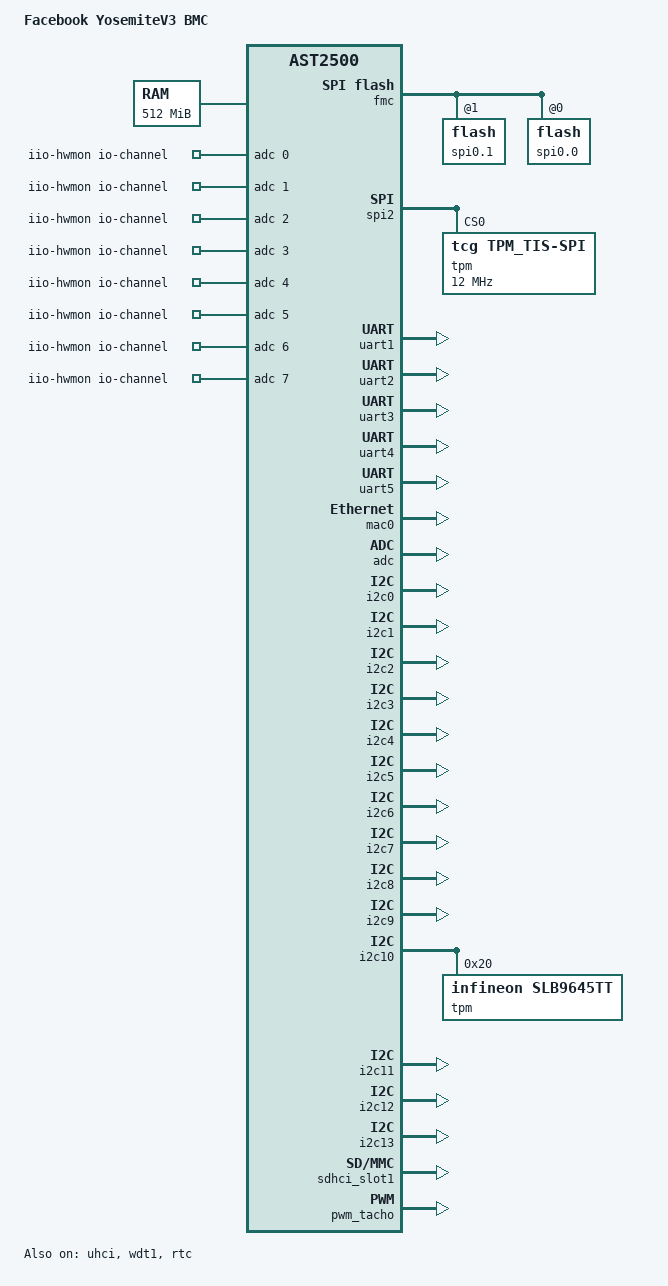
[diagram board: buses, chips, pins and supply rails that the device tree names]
// SPDX-License-Identifier: GPL-2.0+
// Copyright (c) 2018 Facebook Inc.
/dts-v1/;

#include "aspeed-g5.dtsi"
#include <dt-bindings/gpio/aspeed-gpio.h>

/ {
	model = "Facebook YosemiteV3 BMC";
	compatible = "facebook,yosemitev3-bmc", "aspeed,ast2500";
	aliases {
		serial0 = &uart5;
		serial1 = &uart1;
		serial2 = &uart2;
		serial3 = &uart3;
		serial4 = &uart4;
	};
	chosen {
		stdout-path = &uart5;
		bootargs = "debug console=ttyS4,57600n8 root=/dev/ram rw";
	};

	memory@80000000 {
		reg = <0x80000000 0x20000000>;
	};

	iio-hwmon {
		compatible = "iio-hwmon";
		io-channels = <&adc 0>, <&adc 1>, <&adc 2>, <&adc 3>,
			      <&adc 4>, <&adc 5>, <&adc 6>, <&adc 7>,
                              <&adc 8>, <&adc 9>, <&adc 10>;
	};
};

&fmc {
	status = "okay";
	flash@0 {
		reg = < 1 >;
		status = "okay";
		m25p,fast-read;
		label = "spi0.1";
#include "facebook-bmc-vboot2-flash1-layout.dtsi"
	};
	flash@1 {
		reg = < 0 >;
		status = "okay";
		m25p,fast-read;
		label = "spi0.0";
#include "facebook-bmc-vboot2-flash0-layout.dtsi"
	};
};

&spi2 {
        status = "okay";
        compatible = "aspeed,ast2500-spi-master";
        pinctrl-names = "default";
        pinctrl-0 = <&pinctrl_spi2ck_default
                     &pinctrl_spi2cs0_default
                     &pinctrl_spi2miso_default
                     &pinctrl_spi2mosi_default>;
        tpm@0 {
                reg = < 0 >;
                compatible = "tcg,tpm_tis-spi";
                spi-max-frequency = <12000000>;
                status = "okay";
        };
};

&uhci {
	status = "okay";
	pinctrl-names = "default";
	pinctrl-0 = <&pinctrl_usb2ah_default>;
};

&wdt1 {
	status = "okay";
	aspeed,reset-type = "soc";
	aspeed,ext-active-high;
	aspeed,ext-pulse-duration = <256>;
};

&ibt {
	status = "disabled";
};

&rtc {
	status = "okay";
};

&uart1 {
	status = "okay";
	pinctrl-names = "default";
	pinctrl-0 = <&pinctrl_txd1_default
		     &pinctrl_rxd1_default>;
};

&uart2 {
	status = "okay";
	pinctrl-names = "default";
	pinctrl-0 = <&pinctrl_txd2_default
		     &pinctrl_rxd2_default>;
};

&uart3 {
	status = "okay";
	pinctrl-names = "default";
	pinctrl-0 = <&pinctrl_txd3_default
		     &pinctrl_rxd3_default>;
};

&uart4 {
	status = "okay";
	pinctrl-names = "default";
	pinctrl-0 = <&pinctrl_txd4_default
		     &pinctrl_rxd4_default>;
};

&uart5 {
	status = "okay";
};

&mac0 {
	status = "okay";
	pinctrl-names = "default";
	pinctrl-0 = <&pinctrl_rmii1_default>;
	no-hw-checksum;
	use-ncsi;
	mlx,multi-host;
	ncsi-package = <1>;
	ncsi-channel = <1>;
	ncsi-rexmit = <1>;
};

&adc {
	status = "okay";
};

&i2c0 {
	multi-master;
	bus-frequency = <1000000>;
	aspeed,hw-timeout-ms = <1000>;
	status = "okay";
};

&i2c1 {
	multi-master;
	bus-frequency = <1000000>;
	aspeed,hw-timeout-ms = <1000>;
	status = "okay";
};

&i2c2 {
	multi-master;
	bus-frequency = <1000000>;
	aspeed,hw-timeout-ms = <1000>;
	status = "okay";
};

&i2c3 {
	multi-master;
	bus-frequency = <1000000>;
	aspeed,hw-timeout-ms = <1000>;
	status = "okay";
};

&i2c4 {
	status = "okay";
};

&i2c5 {
	status = "okay";
};

&i2c6 {
	status = "okay";
};

&i2c7 {
	status = "okay";
};

&i2c8 {
	status = "okay";
};

&i2c9 {
	status = "okay";
};

&i2c10 {
	status = "okay";
	// TPM (0x40)
	tpm@20 {
		compatible = "infineon,slb9645tt";
		reg = <0x20>;
	};
};

&i2c11 {
	status = "okay";
};

&i2c12 {
	status = "okay";
};

&i2c13 {
	status = "okay";
};

&sdhci_slot1 {
	//Slot Register Set for slot1
	status = "okay";
	pinctrl-names = "default";
	pinctrl-0 = <&pinctrl_sd2_default>;
	sdhci-caps-mask = <0x0 0x580000>;
	broken-cd;
};

&pwm_tacho {
	status = "okay";
	pinctrl-names = "default";
	pinctrl-0 = <&pinctrl_pwm0_default &pinctrl_pwm1_default &pinctrl_pwm2_default &pinctrl_pwm3_default>;
	fan@0 {
		reg = <0x00>;
		aspeed,fan-tach-ch = /bits/ 8 <0x00 0x01>;
		aspeed,pwm-typem-tach-mode = /bits/ 8 <0x00>;       // 00b: falling
		aspeed,pwm-typem-tach-unit = /bits/ 16 <0x1000>;    // 4096
		aspeed,pwm-typem-tach-clk-div = /bits/ 8 <0x00>;    // div 4
	};

	fan@1 {
		reg = <0x01>;
		aspeed,fan-tach-ch = /bits/ 8 <0x02 0x03>;
		aspeed,pwm-typem-tach-mode = /bits/ 8 <0x00>;       // 00b: falling
		aspeed,pwm-typem-tach-unit = /bits/ 16 <0x1000>;    // 4096
		aspeed,pwm-typem-tach-clk-div = /bits/ 8 <0x00>;    // div 4
	};

	fan@2 {
		reg = <0x02>;
		aspeed,fan-tach-ch = /bits/ 8 <0x04 0x05>;
		aspeed,pwm-typem-tach-mode = /bits/ 8 <0x00>;       // 00b: falling
		aspeed,pwm-typem-tach-unit = /bits/ 16 <0x1000>;    // 4096
		aspeed,pwm-typem-tach-clk-div = /bits/ 8 <0x00>;    // div 4
	};

	fan@3 {
		reg = <0x03>;
		aspeed,fan-tach-ch = /bits/ 8 <0x06 0x07>;
		aspeed,pwm-typem-tach-mode = /bits/ 8 <0x00>;       // 00b: falling
		aspeed,pwm-typem-tach-unit = /bits/ 16 <0x1000>;    // 4096
		aspeed,pwm-typem-tach-clk-div = /bits/ 8 <0x00>;    // div 4
	};
};
